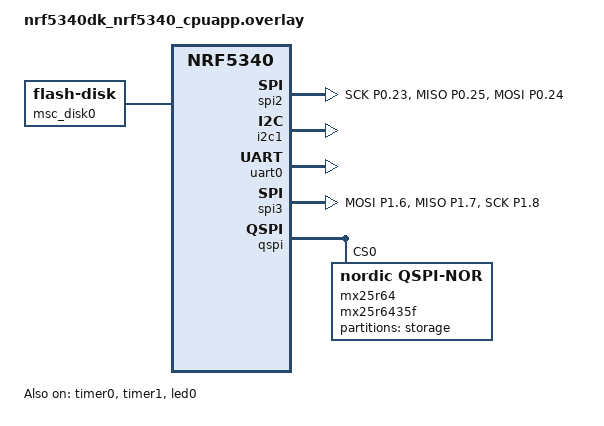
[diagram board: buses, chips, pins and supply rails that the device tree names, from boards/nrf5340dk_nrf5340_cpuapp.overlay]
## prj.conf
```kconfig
CONFIG_STDOUT_CONSOLE=y

#USB related configs
CONFIG_USB_DEVICE_STACK=y
CONFIG_USB_DEVICE_PRODUCT="Zephyr MSC sample"
CONFIG_USB_DEVICE_PID=0x0008
CONFIG_LOG=y
CONFIG_LOG_BACKEND_RTT=y
CONFIG_RTT_CONSOLE=y
CONFIG_USE_SEGGER_RTT=y
CONFIG_USB_DRIVER_LOG_LEVEL_ERR=y
CONFIG_USB_MASS_STORAGE=y
CONFIG_USB_DEVICE_LOG_LEVEL_ERR=y
CONFIG_USB_MASS_STORAGE_LOG_LEVEL_ERR=y
CONFIG_USB_DEVICE_INITIALIZE_AT_BOOT=n

CONFIG_APP_MSC_STORAGE_FLASH_LITTLEFS=y


CONFIG_FLASH_MAP=y
CONFIG_FLASH_PAGE_LAYOUT=y
CONFIG_NORDIC_QSPI_NOR_FLASH_LAYOUT_PAGE_SIZE=4096
 
CONFIG_USB_DEVICE_LOG_LEVEL_ERR=y
CONFIG_USB_MASS_STORAGE_LOG_LEVEL_ERR=y
CONFIG_USB_DEVICE_INITIALIZE_AT_BOOT=n



CONFIG_MAIN_STACK_SIZE=1536
```

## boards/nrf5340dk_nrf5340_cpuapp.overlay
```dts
// press Ctrl+Space to bring up the completion menu and view the available nodes.

// You can also use the buttons in the sidebar to perform actions on nodes.
// Actions currently available include:

// * Enabling / disabling the node
// * Adding the bus to a bus
// * Removing the node
// * Connecting ADC channels

// For more help, browse the DeviceTree documentation at https://docs.zephyrproject.org/latest/guides/dts/index.html
// You can also visit the nRF DeviceTree extension documentation at https://nrfconnect.github.io/vscode-nrf-connect/devicetree/nrfdevicetree.html


&timer0 {
    status = "okay";
};

&timer1 {
    status = "okay";
};


&led0 {
    status = "okay";
};


&arduino_adc {
    io-channel-map = <0 &adc 0>, <1 &adc 1>, <2 &adc 2>, <3 &adc 3>, <4 &adc 4>, <5 &adc 5>;
};


/ {
    aliases {
        customspi = &spi1;
		spi-flash0 = &mx25r64;
    };
};










&spi2 {
compatible = "nordic,nrf-spim";
	status = "okay";
	cs-gpios = <&gpio0 26 GPIO_ACTIVE_LOW>;
	pinctrl-0 = <&spi1_default>;
	pinctrl-1 = <&spi1_sleep>;
	pinctrl-names = "default", "sleep";

};

// We need to disable i2c1, since we are already using spi1 and it is no longer needed (can't have 2 devices on the same unit).
&i2c1 {
	status = "okay";
	compatible = "nordic,nrf-twim";
};

/* 
&i2c0 {
	status = "okay";
	compatible = "nordic,nrf-twim";
	pinctrl-0 = < &i2c1_default>;
	pinctrl-1 = <&i2c1_sleep>;
	pinctrl-names = "default", "sleep";
};
*/

//uart cannot also be in operation, however, this means we have to use segger RTT, because uart is used for console output
&uart0 {
	status = "okay";
};


  
&spi3{
	compatible = "nordic,nrf-spim";
	status = "okay";
	cs-gpios = <&gpio1 5 1>;
	pinctrl-0 = < &ppg_default>;
	pinctrl-1 = <&ppg_sleep>;
	pinctrl-names = "default", "sleep";
};


//External Flash
/* 
&mx66u: mx66u2g45g@0{
	compatible = "nordic,qspi-nor";
	reg = <0>;
	
	writeoc = "pp4io";
	readoc = "read4io";
	sck-frequency = <8000000>;
	jedec-id = [c2 25 3c];
	sfdp-bfp = [
		e5 20 f1 ff  ff ff ff 03  44 eb 08 6b  08 3b 04 bb
		ee ff ff ff  ff ff 00 ff  ff ff 00 ff  0c 20 0f 52
		10 d8 00 ff  23 72 f5 00  82 ed 04 cc  44 83 68 44
		30 b0 30 b0  f7 c4 d5 5c  00 be 29 ff  f0 d0 ff ff
	];
	size = <67108864>;
	has-dpd;
	t-enter-dpd = <10000>;
	t-exit-dpd = <35000>;
	
}; 

*/

 /* 
&qspi {
	status = "okay";
	pinctrl-0 = <&qspi_default>;
	pinctrl-1 = <&qspi_sleep>;
	pinctrl-names = "default", "sleep";
	mx25r6435f@0 {
		compatible = "nordic,qspi-nor";
	reg = <0>;
	writeoc = "pp";
	readoc = "fastread";
	sck-frequency = <8000000>;
	jedec-id = [c2 25 3c];
	sfdp-bfp = [
		e5 20 f1 ff  ff ff ff 03  44 eb 08 6b  08 3b 04 bb
		ee ff ff ff  ff ff 00 ff  ff ff 00 ff  0c 20 0f 52
		10 d8 00 ff  23 72 f5 00  82 ed 04 cc  44 83 68 44
		30 b0 30 b0  f7 c4 d5 5c  00 be 29 ff  f0 d0 ff ff
	];
	size = <67108864>;
	has-dpd;
	t-enter-dpd = <10000>;
	t-exit-dpd = <35000>;
	};
};

*/
&qspi {
	status = "okay";
	pinctrl-0 = <&qspi_default>;
	pinctrl-1 = <&qspi_sleep>;
	pinctrl-names = "default", "sleep";
	mx25r64: mx25r6435f@0 {
		compatible = "nordic,qspi-nor";
	reg = <0>;
	//MX25R64 supports only pp and pp4io
	writeoc = "pp";
	//MX25R64 supports all readoc options
	readoc = "fastread";
	sck-frequency = <8000000>;
	jedec-id = [c2 28 17];
	sfdp-bfp = [
		e5 20 f1 ff  ff ff ff 03  44 eb 08 6b  08 3b 04 bb
		ee ff ff ff  ff ff 00 ff  ff ff 00 ff  0c 20 0f 52
		10 d8 00 ff  23 72 f5 00  82 ed 04 cc  44 83 68 44
		30 b0 30 b0  f7 c4 d5 5c  00 be 29 ff  f0 d0 ff ff
	];
	size = <67108864>;
	has-dpd;
	t-enter-dpd = <10000>;
	t-exit-dpd = <35000>;
	};
};



&pinctrl {
	//spi 1, imu sensor
    spi1_default: spi1_default {
		group1 {
			psels = <NRF_PSEL(SPIM_SCK, 0, 23)>,
				<NRF_PSEL(SPIM_MISO, 0, 25)>,
				<NRF_PSEL(SPIM_MOSI, 0, 24)>;
		};
	};

	spi1_sleep: spi1_sleep {
		group1 {
			psels = <NRF_PSEL(SPIM_SCK, 0, 23)>,
				<NRF_PSEL(SPIM_MISO, 0, 25)>,
				<NRF_PSEL(SPIM_MOSI, 0, 24)>;
			low-power-enable;
		};
	};

	
	//spi 4, ppg sensor
	ppg_default: ppg_default {
		group1 {
			psels = <NRF_PSEL(SPIM_MOSI, 1, 6)>, <NRF_PSEL(SPIM_MISO, 1, 7)>, <NRF_PSEL(SPIM_SCK, 1, 8)>;
		};
	};

	ppg_sleep: ppg_sleep {
		group1{
			psels = <NRF_PSEL(SPIM_MOSI, 1, 6)>, <NRF_PSEL(SPIM_MISO, 1, 7)>, <NRF_PSEL(SPIM_SCK, 1, 8)>;
			low-power-enable;
		};
	};
	
	/* 
	//battery, on i2c0
	i2c0_default: i2c0_default {
		group1 {
			psels = <NRF_PSEL(TWIM_SDA, 1, 2)>,
				<NRF_PSEL(TWIM_SCL, 1, 3)>;
		};
	};

	i2c0_sleep: i2c0_sleep {
		group1 {
			psels = <NRF_PSEL(TWIM_SDA, 1, 2)>,
				<NRF_PSEL(TWIM_SCL, 1, 3)>;
			low-power-enable;
		};
	};
	*/

};



/delete-node/ &storage_partition;

&mx25r64 {
	partitions {
		compatible = "fixed-partitions";
		#address-cells = <1>;
		#size-cells = <1>;

		storage_partition: partition@0 {
			label = "storage";
			reg = <0x00000000 0x00600000>;
		};
	};
};

/ {
	msc_disk0 {
		compatible = "zephyr,flash-disk";
		partition = <&storage_partition>;
		disk-name = "NAND";
		cache-size = <4096>;
	};
};
```

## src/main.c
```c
/*
 * Copyright (c) 2016 Intel Corporation.
 * Copyright (c) 2019-2020 Nordic Semiconductor ASA
 *
 * SPDX-License-Identifier: Apache-2.0
 */

#include <zephyr/kernel.h>
#include <zephyr/logging/log.h>
#include <zephyr/usb/usb_device.h>
#include <zephyr/fs/fs.h>
#include <stdio.h>
#include "filesystem/zephyrfilesystem.h"

LOG_MODULE_REGISTER(main);

#if CONFIG_DISK_DRIVER_FLASH
#include <zephyr/storage/flash_map.h>
#endif

#if CONFIG_FAT_FILESYSTEM_ELM
#include <ff.h>
#endif

#if CONFIG_FILE_SYSTEM_LITTLEFS
#include <zephyr/fs/littlefs.h>
FS_LITTLEFS_DECLARE_DEFAULT_CONFIG(storage);
#endif

#define STORAGE_PARTITION		storage_partition
#define STORAGE_PARTITION_ID		FIXED_PARTITION_ID(STORAGE_PARTITION)

static struct fs_mount_t fs_mnt;

static int setup_flash(struct fs_mount_t *mnt)
{
	int rc = 0;
#if CONFIG_DISK_DRIVER_FLASH
	unsigned int id;
	const struct flash_area *pfa;

	mnt->storage_dev = (void *)STORAGE_PARTITION_ID;
	id = STORAGE_PARTITION_ID;

	rc = flash_area_open(id, &pfa);
	printk("Area %u at 0x%x on %s for %u bytes\n",
	       id, (unsigned int)pfa->fa_off, pfa->fa_dev->name,
	       (unsigned int)pfa->fa_size);

	if (rc < 0 && IS_ENABLED(CONFIG_APP_WIPE_STORAGE)) {
		printk("Erasing flash area ... ");
		rc = flash_area_erase(pfa, 0, pfa->fa_size);
		printk("%d\n", rc);
	}

	if (rc < 0) {
		flash_area_close(pfa);
	}
#endif
	return rc;
}

static int mount_app_fs(struct fs_mount_t *mnt)
{
	int rc;

#if CONFIG_FAT_FILESYSTEM_ELM
	static FATFS fat_fs;

	mnt->type = FS_FATFS;
	mnt->fs_data = &fat_fs;
	if (IS_ENABLED(CONFIG_DISK_DRIVER_RAM)) {
		mnt->mnt_point = "/RAM:";
	} else if (IS_ENABLED(CONFIG_DISK_DRIVER_SDMMC)) {
		mnt->mnt_point = "/SD:";
	} else {
		mnt->mnt_point = "/NAND:";
	}

#elif CONFIG_FILE_SYSTEM_LITTLEFS
	mnt->type = FS_LITTLEFS;
	mnt->mnt_point = "/lfs";
	mnt->fs_data = &storage;
#endif
	rc = fs_mount(mnt);

	return rc;
}

static void setup_disk(void)
{
	struct fs_mount_t *mp = &fs_mnt;
	struct fs_dir_t dir;
	struct fs_statvfs sbuf;
	int rc;

	fs_dir_t_init(&dir);

	if (IS_ENABLED(CONFIG_DISK_DRIVER_FLASH)) {
		rc = setup_flash(mp);
		if (rc < 0) {
			LOG_ERR("Failed to setup flash area");
			return;
		}
	}

	if (!IS_ENABLED(CONFIG_FILE_SYSTEM_LITTLEFS) &&
	    !IS_ENABLED(CONFIG_FAT_FILESYSTEM_ELM)) {
		LOG_INF("No file system selected");
		return;
	}

	rc = mount_app_fs(mp);
	if (rc < 0) {
		LOG_ERR("Failed to mount filesystem");
		return;
	}

	/* Allow log messages to flush to avoid interleaved output */
	k_sleep(K_MSEC(50));

	printk("Mount %s: %d\n", fs_mnt.mnt_point, rc);

	rc = fs_statvfs(mp->mnt_point, &sbuf);
	if (rc < 0) {
		printk("FAIL: statvfs: %d\n", rc);
		return;
	}

	printk("%s: bsize = %lu ; frsize = %lu ;"
	       " blocks = %lu ; bfree = %lu\n",
	       mp->mnt_point,
	       sbuf.f_bsize, sbuf.f_frsize,
	       sbuf.f_blocks, sbuf.f_bfree);

	rc = fs_opendir(&dir, mp->mnt_point);
	printk("%s opendir: %d\n", mp->mnt_point, rc);

	if (rc < 0) {
		LOG_ERR("Failed to open directory");
	}

	while (rc >= 0) {
		struct fs_dirent ent = { 0 };

		rc = fs_readdir(&dir, &ent);
		if (rc < 0) {
			LOG_ERR("Failed to read directory entries");
			break;
		}
		if (ent.name[0] == 0) {
			printk("End of files\n");
			break;
		}
		printk("  %c %u %s\n",
		       (ent.type == FS_DIR_ENTRY_FILE) ? 'F' : 'D',
		       ent.size,
		       ent.name);
	}

	(void)fs_closedir(&dir);

	return;
}

void main(void)
{
	test_function();
	int ret;

	setup_disk();

	ret = usb_enable(NULL);
	if (ret != 0) {
		LOG_ERR("Failed to enable USB");
		return;
	}

	LOG_INF("The device is put in USB mass storage mode.\n");
}
```
